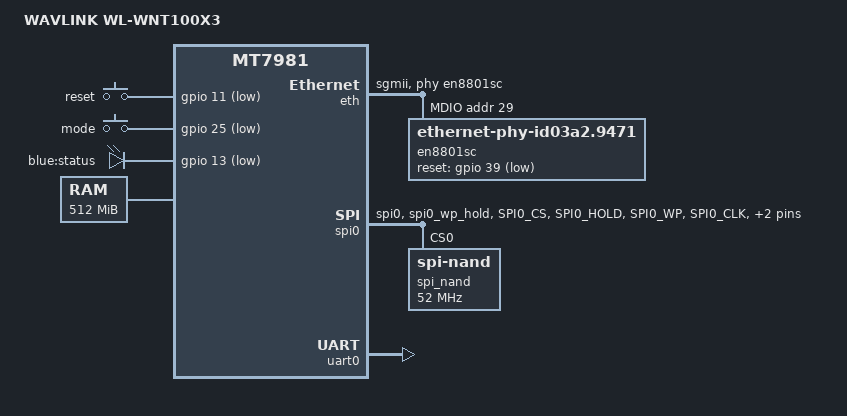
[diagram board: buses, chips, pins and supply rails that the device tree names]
// SPDX-License-Identifier: GPL-2.0-or-later

/dts-v1/;
#include "mt7981.dtsi"
#include <dt-bindings/gpio/gpio.h>
#include <dt-bindings/input/linux-event-codes.h>

/ {
	#address-cells = <1>;
	#size-cells = <1>;
	model = "WAVLINK WL-WNT100X3";
	compatible = "wavlink,wl-wnt100x3-ubootmod", "mediatek,mt7981";

	chosen {
		stdout-path = &uart0;
		tick-timer = &timer0;
	};

	config {
		bootcmd = "mtkboardboot";
		blink_led = "blue:status";
		system_led = "blue:status";
	};

	mtd-layout {
		layout@0 {
			label = "default";
			mtdids = "spi-nand0=spi-nand0";
			mtdparts = "spi-nand0:1024k(bl2),512k(u-boot-env),2048k(factory),2048k(fip),92160k(ubi),512k(hw)";
		};

		layout@1 {
			label = "OpenWrt (U-Boot layout)";
			mtdids = "spi-nand0=spi-nand0";
			mtdparts = "spi-nand0:1024k(bl2),512k(u-boot-env),2048k(factory),2048k(fip),-(ubi)";
		};
	};

	gpio-keys {
		compatible = "gpio-keys";

		reset-button {
			label = "reset";
			linux,code = <KEY_RESTART>;
			gpios = <&gpio 11 GPIO_ACTIVE_LOW>;
		};

		mode-button {
			label = "mode";
			linux,code = <KEY_RFKILL>;
			gpios = <&gpio 25 GPIO_ACTIVE_LOW>;
			debounce-interval = <60>;
		};
	};

	leds {
		compatible = "gpio-leds";

		led-0 {
			label = "blue:status";
			gpios = <&gpio 13 GPIO_ACTIVE_LOW>;
		};
	};

	memory@40000000 {
		device_type = "memory";
		reg = <0x40000000 0x20000000>;
	};

	bl2_verify {
		bl2_compatible = "spim-nand";
	};
};

&eth {
	status = "okay";
	mediatek,gmac-id = <0>;
	phy-mode = "sgmii";
	phy-handle = <&en8801sc>;
	managed = "in-band-status";

	mdio {
		#address-cells = <1>;
		#size-cells = <0>;

		en8801sc: ethernet-phy@1d {
			compatible = "ethernet-phy-id03a2.9471";
			reg = <0x1d>;
			phy-mode = "sgmii";
			reset-gpios = <&gpio 39 GPIO_ACTIVE_LOW>;
			reset-assert-us = <10000>;
			reset-deassert-us = <20000>;
		};
	};
};

&pinctrl {
	spi_flash_pins: spi0-pins-func-1 {
		mux {
			function = "flash";
			groups = "spi0", "spi0_wp_hold";
		};

		conf-pu {
			pins = "SPI0_CS", "SPI0_HOLD", "SPI0_WP";
			drive-strength = <MTK_DRIVE_8mA>;
			bias-pull-up = <MTK_PUPD_SET_R1R0_11>;
		};

		conf-pd {
			pins = "SPI0_CLK", "SPI0_MOSI", "SPI0_MISO";
			drive-strength = <MTK_DRIVE_8mA>;
			bias-pull-down = <MTK_PUPD_SET_R1R0_11>;
		};
	};
};

&spi0 {
	#address-cells = <1>;
	#size-cells = <0>;
	pinctrl-names = "default";
	pinctrl-0 = <&spi_flash_pins>;
	status = "okay";
	must_tx;
	enhance_timing;
	dma_ext;
	ipm_design;
	support_quad;
	tick_dly = <2>;
	sample_sel = <0>;

	spi_nand@0 {
		compatible = "spi-nand";
		reg = <0>;
		spi-max-frequency = <52000000>;
	};
};

&uart0 {
	status = "okay";
};

&watchdog {
	status = "disabled";
};
